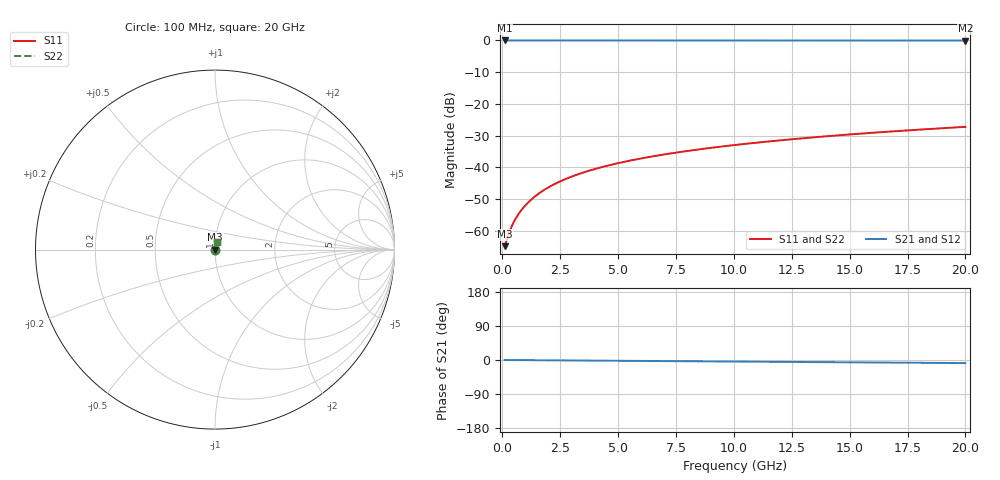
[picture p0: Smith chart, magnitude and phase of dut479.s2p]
! Touchstone file exported from HFSS 2026.1.0
!  File:  C:/ffzhzh/LocalFiles/Ansys_Project_Files/temp_train_TSV_479_1783022550_53980.aedt
!  Generated:  04:04:25 AM Jul  3, 2026
!  Design:  TSV
!  Project:  temp_train_TSV_479_1783022550_53980
! Variables:
!  h_bsmrdl = 2um
!  h_ox = 20um
!  h_rdl = 5um
!  h_sub = 80.43um
!  h_tmrdl = 5um
!  h_tsv = 80.43um
!  h_via = 3um
!  l_bsmrdl = 300um
!  l_sub = 408.82um
!  l_tmrdl = 200um
!  m_sub = 200um
!  pitch = 27.99um
!  r_tsv = 4.41um
!  s_tmrdl = 10um
!  w_bsmrdl = 18um
!  w_sub = 500um
!  w_tmrdl = 12um
!  x_tsv_center1 = 206um
!  x_tsv_center2 = 524um
!  x_tsv_center3 = 736um
!  x_tsv_center4 = 1054um
!  x_tsv_center5 = 1266um
!  x_tsv_center6 = 1584um
# GHz S MA R 50.000000
! Terminal data exported
! Port[1] = TSV1_1_T1
! Port[2] = TSV1_1_T2
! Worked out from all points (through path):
!   200 points, 100 MHz to 20 GHz, reference 50 ohm
!   highest |S21| = 0.00 dB at 100 MHz (marker M1); lowest = 0.0 dB at 20 GHz (marker M2)
!   group delay of S21, straight-line fit = 1.13 ps
!   lowest |S11| = -64.9 dB at 100 MHz (marker M3), VSWR 1.00, Z = 50.1 + j0.0262 ohm
!   |S11| at or under -10 dB: start of sweep to end of sweep
!   |S22| runs from -64.9 to -27.3 dB; largest |S21 - S12| = 2.2e-15
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0.1  0.0005686 27.4  0.9995 -0.0  0.9995 -0.0  0.0005686 27.4
! Gamma 0 0 0 0
! Port Impedance 50 0 50 0
0.3  0.0009355 55.0  0.9995 -0.1  0.9995 -0.1  0.0009355 55.0
0.4  0.001152 61.2  0.9994 -0.2  0.9994 -0.2  0.001152 61.2
0.5  0.001374 65.4  0.9994 -0.2  0.9994 -0.2  0.001374 65.4
0.6  0.001598 68.5  0.9994 -0.3  0.9994 -0.3  0.001598 68.5
0.7  0.001825 70.8  0.9994 -0.3  0.9994 -0.3  0.001825 70.8
0.9  0.002282 74.0  0.9994 -0.4  0.9994 -0.4  0.002282 74.0
1.2  0.002974 76.9  0.9993 -0.5  0.9993 -0.5  0.002974 76.9
1.4  0.003438 78.2  0.9993 -0.6  0.9993 -0.6  0.003438 78.2
1.7  0.004135 79.5  0.9993 -0.7  0.9993 -0.7  0.004135 79.5
2.2  0.005294 80.7  0.9992 -0.9  0.9992 -0.9  0.005294 80.7
2.8  0.006672 81.5  0.9991 -1.2  0.9991 -1.2  0.006672 81.5
3.5  0.00826 81.8  0.999 -1.5  0.999 -1.5  0.00826 81.8
4.2  0.009826 82.0  0.9989 -1.7  0.9989 -1.7  0.009826 82.0
5  0.01159 82.0  0.9987 -2.1  0.9987 -2.1  0.01159 82.0
5.9  0.01355 82.0  0.9986 -2.4  0.9986 -2.4  0.01355 82.0
6.8  0.0155 81.9  0.9984 -2.8  0.9984 -2.8  0.0155 81.9
8.3  0.01871 81.7  0.9982 -3.4  0.9982 -3.4  0.01871 81.7
10.1  0.02254 81.4  0.998 -4.1  0.998 -4.1  0.02254 81.4
13.4  0.02952 80.6  0.9976 -5.5  0.9976 -5.5  0.02952 80.6
16.7  0.03646 79.7  0.9971 -6.8  0.9971 -6.8  0.03646 79.7
20  0.04334 78.6  0.9966 -8.1  0.9966 -8.1  0.04333 78.6
